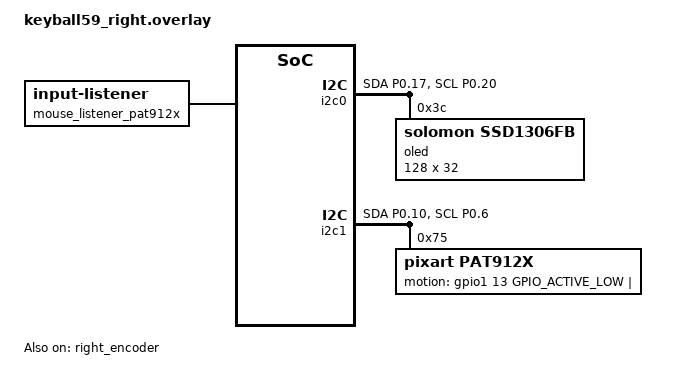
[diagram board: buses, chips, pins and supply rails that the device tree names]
/*
 * Copyright (c) 2020 ZMK Contributors
 *
 * SPDX-License-Identifier: MIT
 */
 
#include "keyball59.dtsi"

&default_transform {
    col-offset = <7>;
};

&kscan0 {
    row-gpios = 
        <&gpio0 31 (GPIO_ACTIVE_HIGH | GPIO_PULL_DOWN)>,
        <&gpio1 15 (GPIO_ACTIVE_HIGH | GPIO_PULL_DOWN)>,
        <&gpio0 22 (GPIO_ACTIVE_HIGH | GPIO_PULL_DOWN)>,
        <&gpio0 24 (GPIO_ACTIVE_HIGH | GPIO_PULL_DOWN)>,
        <&gpio1 6 (GPIO_ACTIVE_HIGH | GPIO_PULL_DOWN)>;

    col-gpios = 
        <&gpio1 1  GPIO_ACTIVE_HIGH>,
        <&gpio1 4  GPIO_ACTIVE_HIGH>,
        <&gpio0 11 GPIO_ACTIVE_HIGH>,
        <&gpio1 0 GPIO_ACTIVE_HIGH>,
        <&gpio0 9 GPIO_ACTIVE_HIGH>,
        <&gpio0 29 GPIO_ACTIVE_HIGH>,
        <&gpio0 2 GPIO_ACTIVE_HIGH>;
};

&pinctrl {
    i2c0_default: i2c0_default {
        group1 {
            psels = <NRF_PSEL(TWIM_SDA, 0, 17)>,
                    <NRF_PSEL(TWIM_SCL, 0, 20)>;
        };
    };

    i2c0_sleep: i2c0_sleep {
        group1 {
            psels = <NRF_PSEL(TWIM_SDA, 0, 17)>,
                    <NRF_PSEL(TWIM_SCL, 0, 20)>;
            low-power-enable;
        };
    };
};

&i2c0 {
    status = "okay";
    compatible = "nordic,nrf-twi";
    pinctrl-0 = <&i2c0_default>;
    pinctrl-1 = <&i2c0_sleep>;
    pinctrl-names = "default", "sleep";

    oled: ssd1306@3c {
        compatible = "solomon,ssd1306fb";
        reg = <0x3c>;
        width = <128>;
        height = <32>;
        segment-offset = <0>;
        page-offset = <0>;
        display-offset = <0>;
        multiplex-ratio = <31>;
        segment-remap;
        com-invdir;
        com-sequential;
        inversion-on;
        prechargep = <0x22>;
    };
};

&pinctrl {
    i2c1_default: i2c1_default {
        group1 {
            psels = <NRF_PSEL(TWIM_SDA, 0, 10)>,
                    <NRF_PSEL(TWIM_SCL, 0, 6)>;
        };
    };

    i2c1_sleep: i2c1_sleep {
        group1 {
            psels = <NRF_PSEL(TWIM_SDA, 0, 10)>,
                    <NRF_PSEL(TWIM_SCL, 0, 6)>;
            low-power-enable;
        };
    };
};

&i2c1 {
    /* 既存ノードの上書き。I²C0 = TWIM0 */
    status = "okay";
    compatible = "nordic,nrf-twi";   /* 明示しておくと安心 */
    pinctrl-0 = <&i2c1_default>;
    pinctrl-1 = <&i2c1_sleep>;
    pinctrl-names = "default", "sleep";
//    clock-frequency = <I2C_BITRATE_STANDARD>; /* 100 kHz */

    pat912x: pat9126@75 {
        compatible = "pixart,pat912x";
        reg = <0x75>;                       /* ID_SEL=GND → 0x75 */
        motion-gpios = <&gpio1 13 GPIO_ACTIVE_LOW | GPIO_PULL_UP>;
        zephyr,axis-x = <0>;
        zephyr,axis-y = <1>;
        res-x-cpi = <1200>;                  /* 好みに応じて 200-1275 */
        res-y-cpi = <1200>;
        //sleep1-enable;                      /* 低消費電力モード */
        //sleep2-enable;
        /* invert-x; invert-y; も必要なら追加 */
    };
};

/*
&pinctrl {
    spi1_default: spi1_default {
        group1 {
            psels = 
                <NRF_PSEL(SPIM_SCK,  1, 13)>,
                <NRF_PSEL(SPIM_MOSI, 0, 10)>,
                <NRF_PSEL(SPIM_MISO, 1, 11)>;
        };
    };

    spi1_sleep: spi1_sleep {
        group1 {
            psels = 
                <NRF_PSEL(SPIM_SCK,  1, 13)>,
                <NRF_PSEL(SPIM_MOSI, 0, 10)>,
                <NRF_PSEL(SPIM_MISO, 1, 11)>;
            low-power-enable;
        };
    };
};
*/

/*
&spi1 {
	status = "okay";
    compatible   = "nordic,nrf-spim";
    pinctrl-0    = <&spi1_default>;
    pinctrl-1    = <&spi1_sleep>;
    pinctrl-names= "default", "sleep";
    cs-gpios = <&gpio0 6 GPIO_ACTIVE_LOW>;
	pmw3360: pmw3360@0 {
		compatible = "pixart,pmw3360";
		status = "okay";
		reg = <0>;
		spi-max-frequency = <2000000>;
        	
		cpi = <1200>;
        snipe_cpi = <400>;
		rotate-90;
        automouse-layer = <4>;
        scroll-layer = <5>;
        snipe-layer = <6>;
        mouse-y-inverted;
        scroll-ticks = <50>;
        
        //angle-tune = <-15>;
	};
};
*/

&right_encoder {
    status = "okay";
};

/*
/ {
	mouse_listener {
		compatible = "zmk,input-listener";
		device = <&pmw3360>;
	};
};
*/

/ {
    mouse_listener_pat912x {
        compatible = "zmk,input-listener";
        device = <&pat912x>;
    };
};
